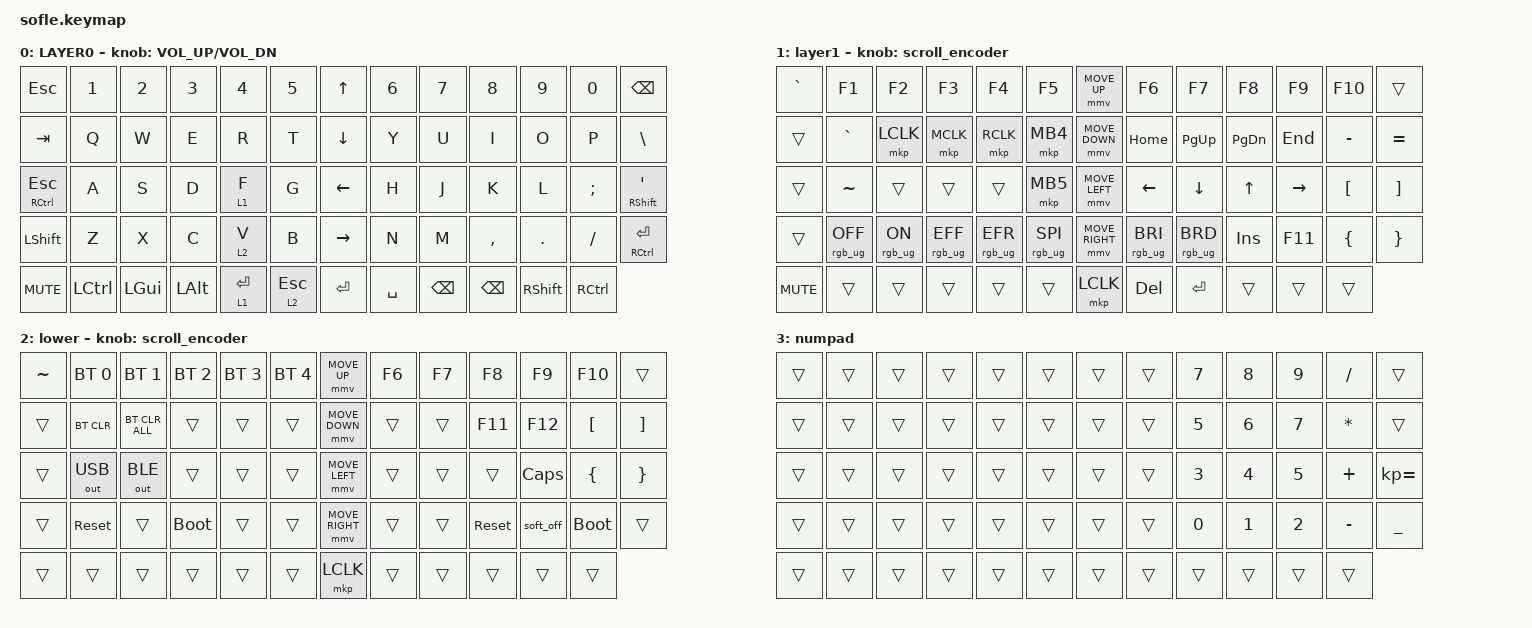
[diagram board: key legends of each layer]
#include <behaviors/mouse_keys.dtsi>
#include <dt-bindings/zmk/mouse.h>
#include <behaviors.dtsi>
#include <dt-bindings/zmk/bt.h>
#include <dt-bindings/zmk/keys.h>
#include <dt-bindings/zmk/outputs.h>
#include <dt-bindings/zmk/pointing.h>
#include <dt-bindings/zmk/pointing.h>
#include <dt-bindings/zmk/pointing.h>
#include <dt-bindings/zmk/rgb.h>

#define ZMK_MOUSE_DEFAULT_MOVE_VAL 1200  // 600
#define ZMK_MOUSE_DEFAULT_SCRL_VAL 20    // 10
#define U_MS_U &mmv MOVE_UP
#define U_MS_D &mmv MOVE_DOWN
#define U_MS_L &mmv MOVE_LEFT
#define U_MS_R &mmv MOVE_RIGHT
#define ZMK_MOUSE_DEFAULT_MOVE_VAL 1200  //  600
#define ZMK_MOUSE_DEFAULT_SCRL_VAL 20    // 10

/ {
    behaviors {
        mmv {
            acceleration-exponent = <1>;      // 1
            time-to-max-speed-ms = <900>;    // 40
            delay-ms = <0>;                   // 0
        };

        msc {
            acceleration-exponent = <1>;      // 0
            time-to-max-speed-ms = <400>;      // 500
            delay-ms = <0>;                   //   10
        };
    };

    scroll_encoder: scroll_encoder {
        compatible = "zmk,behavior-sensor-rotate";
        #sensor-binding-cells = <0>;
        bindings = <&msc SCRL_DOWN>, <&msc SCRL_UP>;

        tap-ms = <30>;
    };

    keymap {
        compatible = "zmk,keymap";

        QWERTY {
            bindings = <
&kp ESC        &kp N1     &kp N2        &kp N3        &kp N4       &kp N5          &kp UP_ARROW     &kp N6     &kp N7         &kp N8         &kp N9           &kp N0     &kp BACKSPACE
&kp TAB        &kp Q      &kp W         &kp E         &kp R        &kp T           &kp DOWN_ARROW   &kp Y      &kp U          &kp I          &kp O            &kp P      &kp BSLH
&mt RCTRL ESC  &kp A      &kp S         &kp D         &lt 1 F      &kp G           &kp LEFT_ARROW   &kp H      &kp J          &kp K          &kp L            &kp SEMI   &mt RSHIFT APOS
&kp LSHIFT     &kp Z      &kp X         &kp C         &lt 2 V      &kp B           &kp RIGHT_ARROW  &kp N      &kp M          &kp COMMA      &kp DOT          &kp FSLH   &mt RCTRL ENTER
&kp C_MUTE     &kp LCTRL  &kp LEFT_GUI  &kp LEFT_ALT  &lt 1 ENTER  &lt 2 ESCAPE    &kp ENTER        &kp SPACE  &kp BACKSPACE  &kp BACKSPACE  &kp RIGHT_SHIFT  &kp RCTRL
            >;

            sensor-bindings = <&inc_dec_kp C_VOLUME_UP C_VOL_DN>;
            display-name = "LAYER0";
        };

        raise_nav {
            bindings = <
&kp GRAVE   &kp F1           &kp F2          &kp F3           &kp F4           &kp F5             &mmv MOVE_UP     &kp F6           &kp F7           &kp F8         &kp F9     &kp F10           &trans
&trans      &kp GRAVE        &mkp LCLK       &mkp MCLK        &mkp RCLK        &mkp MB4           &mmv MOVE_DOWN   &kp HOME         &kp PAGE_UP      &kp PAGE_DOWN  &kp END    &kp MINUS         &kp EQUAL
&trans      &kp TILDE        &trans          &trans           &trans           &mkp MB5           &mmv MOVE_LEFT   &kp LEFT_ARROW   &kp DOWN_ARROW   &kp UP_ARROW   &kp RIGHT  &kp LEFT_BRACKET  &kp RIGHT_BRACKET
&trans      &rgb_ug RGB_OFF  &rgb_ug RGB_ON  &rgb_ug RGB_EFF  &rgb_ug RGB_EFR  &rgb_ug RGB_SPI    &mmv MOVE_RIGHT  &rgb_ug RGB_BRI  &rgb_ug RGB_BRD  &kp INSERT     &kp F11    &kp LEFT_BRACE    &kp RIGHT_BRACE
&kp C_MUTE  &trans           &trans          &trans           &trans           &trans             &mkp LCLK        &kp DELETE       &kp ENTER        &trans         &trans     &trans
            >;

            display-name = "layer1";
            sensor-bindings = <&scroll_encoder>;
        };

        lower {
            bindings = <
&kp TILDE  &bt BT_SEL 0  &bt BT_SEL 1    &bt BT_SEL 2  &bt BT_SEL 3  &bt BT_SEL 4    &mmv MOVE_UP     &kp F6  &kp F7  &kp F8      &kp F9        &kp F10           &trans
&trans     &bt BT_CLR    &bt BT_CLR_ALL  &trans        &trans        &trans          &mmv MOVE_DOWN   &trans  &trans  &kp F11     &kp F12       &kp LEFT_BRACKET  &kp RIGHT_BRACKET
&trans     &out OUT_USB  &out OUT_BLE    &trans        &trans        &trans          &mmv MOVE_LEFT   &trans  &trans  &trans      &kp CAPSLOCK  &kp LBRC          &kp RBRC
&trans     &sys_reset    &trans          &bootloader   &trans        &trans          &mmv MOVE_RIGHT  &trans  &trans  &sys_reset  &soft_off     &bootloader       &trans
&trans     &trans        &trans          &trans        &trans        &trans          &mkp LCLK        &trans  &trans  &trans      &trans        &trans
            >;

            sensor-bindings = <&scroll_encoder>;
        };

        numpad {
            bindings = <
&trans  &trans  &trans  &trans  &trans  &trans    &trans  &trans  &kp N7  &kp N8  &kp N9  &kp SLASH     &trans
&trans  &trans  &trans  &trans  &trans  &trans    &trans  &trans  &kp N5  &kp N6  &kp N7  &kp ASTERISK  &trans
&trans  &trans  &trans  &trans  &trans  &trans    &trans  &trans  &kp N3  &kp N4  &kp N5  &kp PLUS      &kp KP_EQUAL
&trans  &trans  &trans  &trans  &trans  &trans    &trans  &trans  &kp N0  &kp N1  &kp N2  &kp MINUS     &kp UNDER
&trans  &trans  &trans  &trans  &trans  &trans    &trans  &trans  &trans  &trans  &trans  &trans
            >;
        };
    };
};
